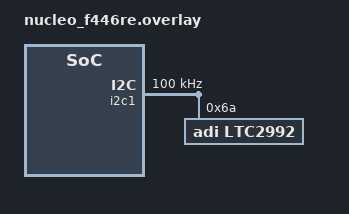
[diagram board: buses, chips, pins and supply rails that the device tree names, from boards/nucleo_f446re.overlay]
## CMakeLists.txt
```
# SPDX-License-Identifier: Apache-2.0

cmake_minimum_required(VERSION 3.20.0)
find_package(Zephyr REQUIRED HINTS $ENV{ZEPHYR_BASE})
project(ltc2992)

FILE(GLOB app_sources src/*.c)
target_sources(app PRIVATE ${app_sources})
```

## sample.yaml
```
sample:
  name: Analog Devices LTC2992 dual wide range power monitor
tests:
  sample.drivers.ltc2992:
    build_only: true
    platform_allow: nucleo_f446re
    tags: sensors
    depends_on: i2c
```

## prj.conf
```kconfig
CONFIG_STDOUT_CONSOLE=y
CONFIG_CBPRINTF_FP_SUPPORT=y
CONFIG_I2C=y
CONFIG_SENSOR=y
```

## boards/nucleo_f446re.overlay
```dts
&i2c1 {
	status = "okay";
	clock-frequency = <I2C_BITRATE_STANDARD>;

	ltc2992@6a {
		compatible = "adi,ltc2992";
		reg = <0x6a>;
	};
};
```

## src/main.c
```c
#include <zephyr/kernel.h>
#include <zephyr/device.h>
#include <zephyr/drivers/sensor.h>
#include <zephyr/sys/printk.h>
#include <zephyr/logging/log.h>

K_SEM_DEFINE(sem, 0, 1);
LOG_MODULE_DECLARE(LTC2992);

#define SENSOR_ATTR_LTC2992_SENSE_CHAN		(SENSOR_ATTR_PRIV_START + 1)
#define SENSOR_ATTR_LTC2992_MAX_DATA		(SENSOR_ATTR_PRIV_START + 2)
#define SENSOR_ATTR_LTC2992_MIN_DATA		(SENSOR_ATTR_PRIV_START + 3)

int main(void)
{
	int i;
	struct sensor_value vbus, current, power;
	struct sensor_value selected_channel;
	const struct device *dev = DEVICE_DT_GET_ONE(adi_ltc2992);

	if (!dev) {
		printk("Failed to get binding device\n");
		return -1;
	}

	while (1) {
		sensor_sample_fetch(dev);

		for (i = 1; i <= 2; i++) {
			selected_channel.val1 = i;
			sensor_attr_set(dev, SENSOR_CHAN_ALL, SENSOR_ATTR_LTC2992_SENSE_CHAN,
					&selected_channel);

			sensor_channel_get(dev, SENSOR_CHAN_VOLTAGE, &vbus);
			sensor_channel_get(dev, SENSOR_CHAN_CURRENT, &current);
			sensor_channel_get(dev, SENSOR_CHAN_POWER, &power);

			printk("SENSE%d: vbus = %d.%06d V, current = %d.%06d A, power = %d.%06d\n",
			       i, vbus.val1, vbus.val2, current.val1, current.val2, power.val1,
			       power.val2);
		}

		printk("\n");
		k_msleep(1000);
	}
}
```
